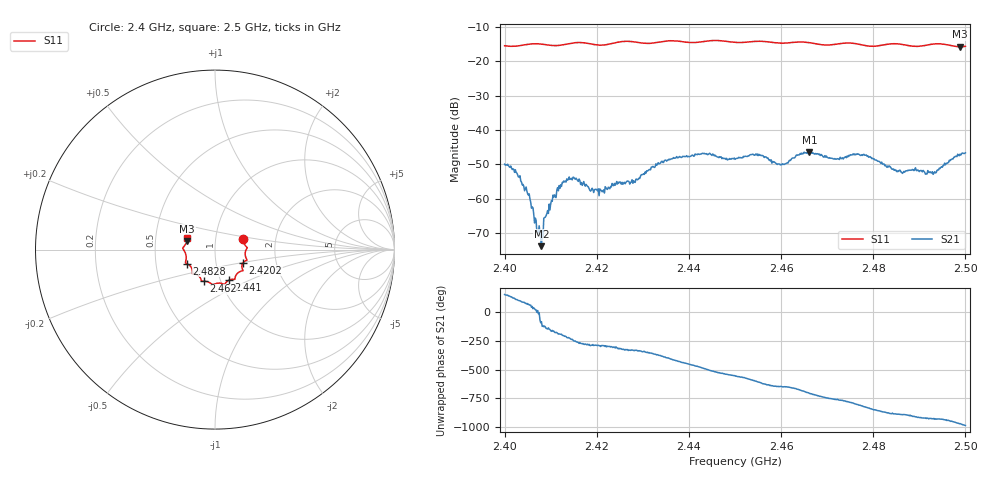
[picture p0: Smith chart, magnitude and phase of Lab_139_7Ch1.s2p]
# Hz S RI R 50
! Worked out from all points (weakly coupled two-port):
!   601 points, 2.4 GHz to 2.5 GHz, reference 50 ohm
!   highest |S21| = -46.37 dB at 2.4662 GHz (marker M1); lowest = -73.8 dB at 2.408 GHz (marker M2)
!   lowest |S11| = -15.8 dB at 2.4988 GHz (marker M3), VSWR 1.39, Z = 36.4 + j3.41 ohm
!   |S11| at or under -10 dB: start of sweep to end of sweep
!   S12 and S22 are empty: the file has one direction only
!   S11 on the Smith chart (normalised r, x): 2.4 GHz: 1.36, +0.17; 2.4202 GHz: 1.35, -0.20; 2.441 GHz: 1.10, -0.39; 2.462 GHz: 0.83, -0.30; 2.4828 GHz: 0.72, -0.12; 2.5 GHz: 0.73, +0.09
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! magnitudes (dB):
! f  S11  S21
! 2.4 GHz  -15.5  -49.9
! 2.4028 GHz  -15.6  -53.1
! 2.4052 GHz  -15.0  -58.9
! 2.4075 GHz  -14.9  -67.9
! 2.408 GHz  -15.0  -73.8
! 2.4102 GHz  -15.4  -60.5
! 2.4123 GHz  -15.3  -56.4
! 2.4167 GHz  -14.6  -55.3
! 2.4202 GHz  -15.3  -57.7
! 2.4283 GHz  -14.4  -55.2
! 2.4333 GHz  -14.5  -49.5
! 2.441 GHz  -14.6  -47.6
! 2.45 GHz  -14.5  -48.5
! 2.462 GHz  -14.6  -48.9
! 2.4662 GHz  -14.6  -46.4
! 2.4667 GHz  -14.7  -46.7
! 2.4783 GHz  -15.4  -47.3
! 2.4828 GHz  -15.1  -50.6
! 2.4833 GHz  -15.0  -50.7
! 2.4932 GHz  -15.0  -52.5
! 2.4988 GHz  -15.8  -47.0
! 2.5 GHz  -15.6  -46.6
